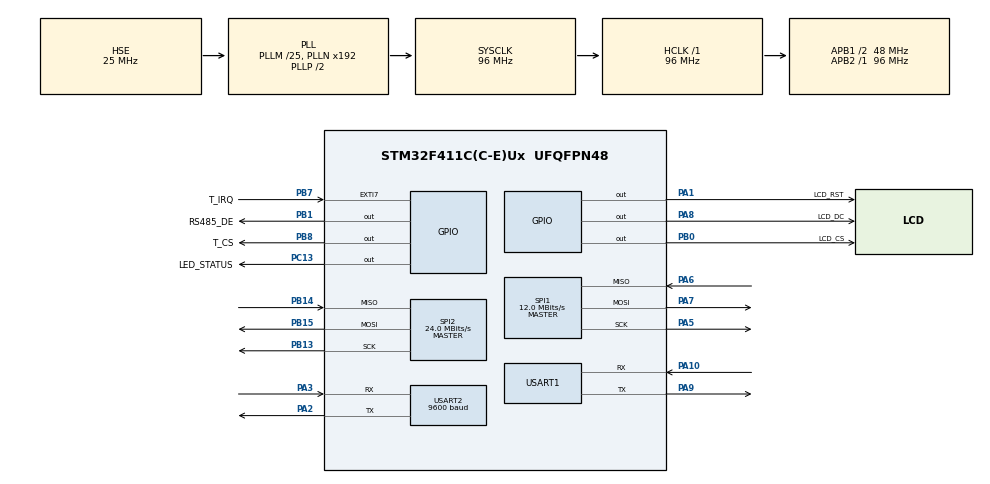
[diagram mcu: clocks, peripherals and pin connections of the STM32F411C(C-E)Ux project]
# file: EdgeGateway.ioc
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FREERTOS.Tasks01=defaultTask,24,128,StartDefaultTask,Default,NULL,Dynamic,NULL,NULL
IWDG.Prescaler=IWDG_PRESCALER_256
IWDG.Reload=2499
Mcu.Family=STM32F4
Mcu.Name=STM32F411C(C-E)Ux
Mcu.Package=UFQFPN48
NVIC.EXTI9_5_IRQn=true\:6\:0\:true\:false\:true\:true\:true\:true\:true
NVIC.PriorityGroup=NVIC_PRIORITYGROUP_4
NVIC.TIM1_UP_TIM10_IRQn=true\:15\:0\:false\:false\:true\:false\:false\:true\:true
NVIC.TimeBase=TIM1_UP_TIM10_IRQn
NVIC.TimeBaseIP=TIM1
NVIC.USART1_IRQn=true\:5\:0\:true\:false\:true\:true\:true\:true\:true
NVIC.USART2_IRQn=true\:5\:0\:true\:false\:true\:true\:true\:true\:true
PA1.GPIO_Label=LCD_RST
PA1.GPIO_Speed=GPIO_SPEED_FREQ_HIGH
PA1.PinState=GPIO_PIN_SET
PA1.Signal=GPIO_Output
PA10.Mode=Asynchronous
PA10.Signal=USART1_RX
PA13.Mode=Serial_Wire
PA13.Signal=SYS_JTMS-SWDIO
PA14.Mode=Serial_Wire
PA14.Signal=SYS_JTCK-SWCLK
PA2.Mode=Asynchronous
PA2.Signal=USART2_TX
PA3.Mode=Asynchronous
PA3.Signal=USART2_RX
PA5.Mode=Full_Duplex_Master
PA5.Signal=SPI1_SCK
PA6.Mode=Full_Duplex_Master
PA6.Signal=SPI1_MISO
PA7.Mode=Full_Duplex_Master
PA7.Signal=SPI1_MOSI
PA8.GPIO_Label=LCD_DC
PA8.GPIO_Speed=GPIO_SPEED_FREQ_HIGH
PA8.PinState=GPIO_PIN_SET
PA8.Signal=GPIO_Output
PA9.Mode=Asynchronous
PA9.Signal=USART1_TX
PB0.GPIO_Label=LCD_CS
PB0.GPIO_Speed=GPIO_SPEED_FREQ_HIGH
PB0.PinState=GPIO_PIN_SET
PB0.Signal=GPIO_Output
PB1.GPIO_Label=RS485_DE
PB1.GPIO_Speed=GPIO_SPEED_FREQ_HIGH
PB1.Signal=GPIO_Output
PB13.Mode=Full_Duplex_Master
PB13.Signal=SPI2_SCK
PB14.Mode=Full_Duplex_Master
PB14.Signal=SPI2_MISO
PB15.Mode=Full_Duplex_Master
PB15.Signal=SPI2_MOSI
PB7.GPIO_Label=T_IRQ
PB7.GPIO_ModeDefaultEXTI=GPIO_MODE_IT_FALLING
PB7.GPIO_PuPd=GPIO_PULLUP
PB7.Signal=GPXTI7
PB8.GPIO_Label=T_CS
PB8.GPIO_Speed=GPIO_SPEED_FREQ_HIGH
PB8.PinState=GPIO_PIN_SET
PB8.Signal=GPIO_Output
PC13-ANTI_TAMP.GPIO_Label=LED_STATUS
PC13-ANTI_TAMP.GPIO_Speed=GPIO_SPEED_FREQ_LOW
PC13-ANTI_TAMP.PinState=GPIO_PIN_SET
PC13-ANTI_TAMP.Signal=GPIO_Output
PC14-OSC32_IN.Mode=LSE-External-Oscillator
PC14-OSC32_IN.Signal=RCC_OSC32_IN
PC15-OSC32_OUT.Mode=LSE-External-Oscillator
PC15-OSC32_OUT.Signal=RCC_OSC32_OUT
PH0\ -\ OSC_IN.Mode=HSE-External-Oscillator
PH0\ -\ OSC_IN.Signal=RCC_OSC_IN
PH1\ -\ OSC_OUT.Mode=HSE-External-Oscillator
PH1\ -\ OSC_OUT.Signal=RCC_OSC_OUT
ProjectManager.HeapSize=0x200
ProjectManager.StackSize=0x400
ProjectManager.TargetToolchain=CMake
RCC.48MHZClocksFreq_Value=48000000
RCC.AHBFreq_Value=96000000
RCC.APB1CLKDivider=RCC_HCLK_DIV2
RCC.APB1Freq_Value=48000000
RCC.APB1TimFreq_Value=96000000
RCC.APB2Freq_Value=96000000
RCC.APB2TimFreq_Value=96000000
RCC.CortexFreq_Value=96000000
RCC.HCLKFreq_Value=96000000
RCC.HSE_VALUE=25000000
RCC.HSI_VALUE=16000000
RCC.PLLM=25
RCC.PLLSourceVirtual=RCC_PLLSOURCE_HSE
RCC.RCC_RTC_Clock_Source=RCC_RTCCLKSOURCE_LSE
RCC.RCC_RTC_Clock_SourceVirtual=RCC_RTCCLKSOURCE_LSE
RCC.SYSCLKFreq_VALUE=96000000
RCC.SYSCLKSource=RCC_SYSCLKSOURCE_PLLCLK
RCC.VCOOutputFreq_Value=192000000
SPI1.BaudRatePrescaler=SPI_BAUDRATEPRESCALER_8
SPI1.CalculateBaudRate=12.0 MBits/s
SPI1.Direction=SPI_DIRECTION_2LINES
SPI1.Mode=SPI_MODE_MASTER
SPI1.VirtualType=VM_MASTER
SPI2.BaudRatePrescaler=SPI_BAUDRATEPRESCALER_2
SPI2.CalculateBaudRate=24.0 MBits/s
SPI2.Direction=SPI_DIRECTION_2LINES
SPI2.Mode=SPI_MODE_MASTER
SPI2.VirtualType=VM_MASTER
USART1.VirtualMode=VM_ASYNC
USART2.BaudRate=9600
USART2.VirtualMode=VM_ASYNC
VP_FREERTOS_VS_CMSIS_V2.Mode=CMSIS_V2
VP_IWDG_VS_IWDG.Mode=IWDG_Activate
VP_RTC_VS_RTC_Activate.Mode=RTC_Enabled
VP_SYS_VS_tim1.Mode=TIM1
board=custom

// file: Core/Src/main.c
/* USER CODE BEGIN Header */
/**
  ******************************************************************************
  * @file           : main.c
  * @brief          : Main program body
  ******************************************************************************
  * @attention
  *
  * Copyright (c) 2026 STMicroelectronics.
  * All rights reserved.
  *
  * This software is licensed under terms that can be found in the LICENSE file
  * in the root directory of this software component.
  * If no LICENSE file comes with this software, it is provided AS-IS.
  *
  ******************************************************************************
  */
/* USER CODE END Header */
#include "main.h"
#include "cmsis_os.h"
#include "iwdg.h"
#include "rtc.h"
#include "spi.h"
#include "usart.h"
#include "gpio.h"

/* USER CODE BEGIN Includes */
#include <stdio.h>  /* setvbuf/stdout/_IONBF；printf 重定向需要 */
#include "app_tasks.h" /* app_tasks_init_result() */
/* USER CODE END Includes */

void SystemClock_Config(void);
void MX_FREERTOS_Init(void);

int main(void)
{

  /* MCU Configuration--------------------------------------------------------*/

  /* Reset of all peripherals, Initializes the Flash interface and the Systick. */
  HAL_Init();

  /* Configure the system clock */
  SystemClock_Config();

  /* Initialize all configured peripherals */
  MX_GPIO_Init();
  MX_IWDG_Init();
  MX_RTC_Init();
  MX_SPI1_Init();
  MX_SPI2_Init();
  MX_USART1_UART_Init();
  MX_USART2_UART_Init();
  /* USER CODE BEGIN 2 */
  setvbuf(stdout, NULL, _IONBF, 0); //关掉输出缓冲，让每条printf立刻发出
  /* USER CODE END 2 */

  /* Init scheduler */
  osKernelInitialize();  /* Call init function for freertos objects (in cmsis_os2.c) */
  MX_FREERTOS_Init();

  /* USER CODE BEGIN RTOS_CHECK */
  /* 任务/队列/锁创建失败就停在这里，不要带着半套对象启动调度器 */
  if (app_tasks_init_result() != 0)
  {
    printf("app_tasks_init FAILED\r\n");
    Error_Handler();
  }
  /* USER CODE END RTOS_CHECK */

  /* Start scheduler */
  osKernelStart();

  /* We should never get here as control is now taken by the scheduler */

  /* Infinite loop */
  while (1)
  {

  }
}

void SystemClock_Config(void)
{
  RCC_OscInitTypeDef RCC_OscInitStruct = {0};
  RCC_ClkInitTypeDef RCC_ClkInitStruct = {0};

  /** Configure the main internal regulator output voltage
  */
  __HAL_RCC_PWR_CLK_ENABLE();
  __HAL_PWR_VOLTAGESCALING_CONFIG(PWR_REGULATOR_VOLTAGE_SCALE1);

  /** Initializes the RCC Oscillators according to the specified parameters
  * in the RCC_OscInitTypeDef structure.
  */
  RCC_OscInitStruct.OscillatorType = RCC_OSCILLATORTYPE_LSI|RCC_OSCILLATORTYPE_HSE
                              |RCC_OSCILLATORTYPE_LSE;
  RCC_OscInitStruct.HSEState = RCC_HSE_ON;
  RCC_OscInitStruct.LSEState = RCC_LSE_ON;
  RCC_OscInitStruct.LSIState = RCC_LSI_ON;
  RCC_OscInitStruct.PLL.PLLState = RCC_PLL_ON;
  RCC_OscInitStruct.PLL.PLLSource = RCC_PLLSOURCE_HSE;
  RCC_OscInitStruct.PLL.PLLM = 25;
  RCC_OscInitStruct.PLL.PLLN = 192;
  RCC_OscInitStruct.PLL.PLLP = RCC_PLLP_DIV2;
  RCC_OscInitStruct.PLL.PLLQ = 4;
  if (HAL_RCC_OscConfig(&RCC_OscInitStruct) != HAL_OK)
  {
    Error_Handler();
  }

  /** Initializes the CPU, AHB and APB buses clocks
  */
  RCC_ClkInitStruct.ClockType = RCC_CLOCKTYPE_HCLK|RCC_CLOCKTYPE_SYSCLK
                              |RCC_CLOCKTYPE_PCLK1|RCC_CLOCKTYPE_PCLK2;
  RCC_ClkInitStruct.SYSCLKSource = RCC_SYSCLKSOURCE_PLLCLK;
  RCC_ClkInitStruct.AHBCLKDivider = RCC_SYSCLK_DIV1;
  RCC_ClkInitStruct.APB1CLKDivider = RCC_HCLK_DIV2;
  RCC_ClkInitStruct.APB2CLKDivider = RCC_HCLK_DIV1;

  if (HAL_RCC_ClockConfig(&RCC_ClkInitStruct, FLASH_LATENCY_3) != HAL_OK)
  {
    Error_Handler();
  }
}

/* USER CODE BEGIN 4 */
int _write(int file, char *ptr, int len)  //重定向printf
  {
    (void)file;
    HAL_UART_Transmit(&huart1, (uint8_t *)ptr, (uint16_t)len, HAL_MAX_DELAY); /* 整串一次发 */
    return len;
  }
/* USER CODE END 4 */

void HAL_TIM_PeriodElapsedCallback(TIM_HandleTypeDef *htim)
{
  if (htim->Instance == TIM1)
  {
    HAL_IncTick();
  }
}

void Error_Handler(void)
{
  __disable_irq();
  while (1)
  {
  }
}

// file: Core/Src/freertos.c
/* USER CODE BEGIN Header */
/**
  ******************************************************************************
  * File Name          : freertos.c
  * Description        : Code for freertos applications
  ******************************************************************************
  * @attention
  *
  * Copyright (c) 2026 STMicroelectronics.
  * All rights reserved.
  *
  * This software is licensed under terms that can be found in the LICENSE file
  * in the root directory of this software component.
  * If no LICENSE file comes with this software, it is provided AS-IS.
  *
  ******************************************************************************
  */
/* USER CODE END Header */

#include "FreeRTOS.h"
#include "task.h"
#include "main.h"
#include "cmsis_os.h"

/* USER CODE BEGIN Includes */
#include <stdio.h>  /* printf/snprintf 声明；GCC 14 起隐式声明是硬错误 */
#include "app_tasks.h" /* 任务骨架（6 任务 + 4 队列 + 1 锁） */
/* USER CODE END Includes */

/* USER CODE BEGIN Variables */
/* 任务骨架的创建统一在 app_tasks_init() 里做，
 * CubeMX 生成的 defaultTask（闪灯 + 打 hello）已删除——否则它是第 7 个任务。*/
static int s_init_rc = -1;

/* main.c 在 osKernelStart() 前用它判断创建是否成功 */
int app_tasks_init_result(void)
{
  return s_init_rc;
}
/* USER CODE END Variables */

void MX_FREERTOS_Init(void); /* (MISRA C 2004 rule 8.1) */

void MX_FREERTOS_Init(void) {

  /* Create the thread(s) */
  /* USER CODE BEGIN RTOS_THREADS */
  /* 6 个任务统一在这里创建。
   * app_tasks_init() 内部顺序：① 建 mutex/队列 → ② 建任务。
   * 返回值存进 s_init_rc，main.c 在 osKernelStart() 前检查。*/
  s_init_rc = app_tasks_init();
  /* USER CODE END RTOS_THREADS */

}

/* USER CODE BEGIN Application */

/**
  * @brief  栈溢出钩子（configCHECK_FOR_STACK_OVERFLOW = 2 时必须提供）
  * @note   在这里停住，方便挂调试器看 xTask / pcTaskName 定位是哪个任务爆的。
  *         不开中断死等，20s 后由 IWDG 兜底复位，不会变砖。
  */
void vApplicationStackOverflowHook(TaskHandle_t xTask, char *pcTaskName)
{
  (void)xTask;
  (void)pcTaskName;
  __disable_irq();
  for (;;)
  {
  }
}

/* USER CODE END Application */
